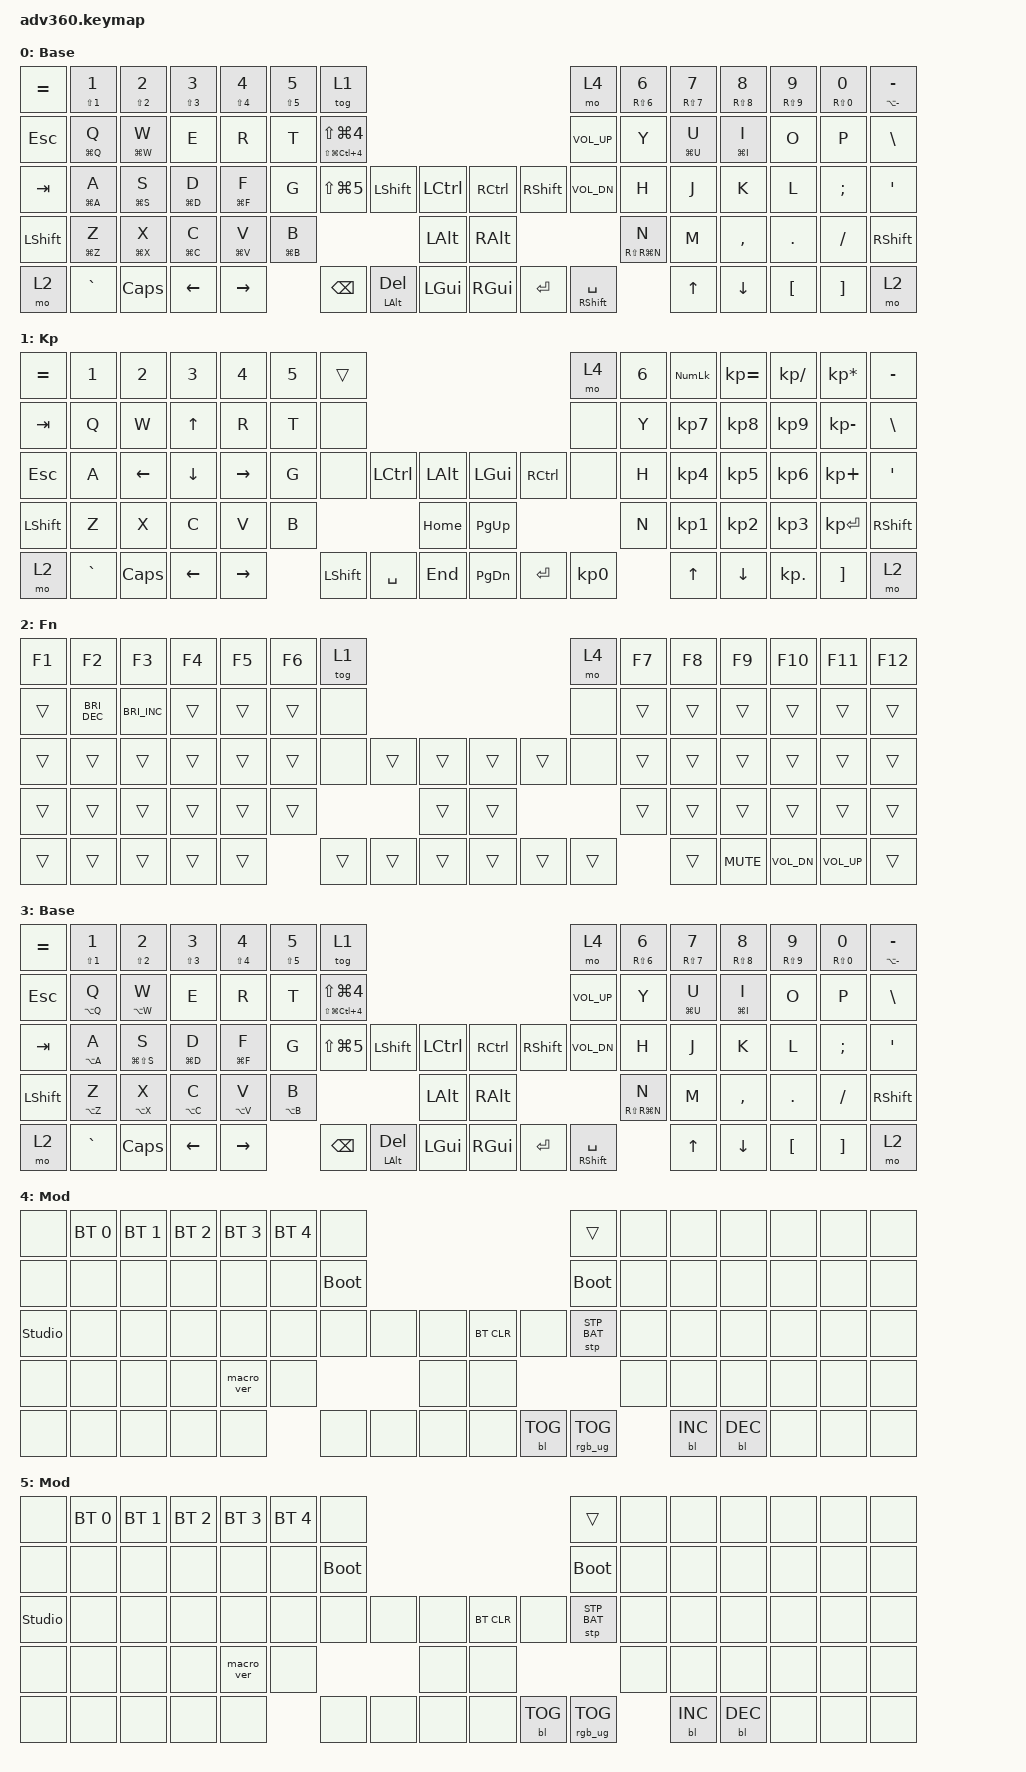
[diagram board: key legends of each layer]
#include <dt-bindings/zmk/stp.h>
#include <behaviors.dtsi>
#include <dt-bindings/zmk/backlight.h>
#include <dt-bindings/zmk/bt.h>
#include <dt-bindings/zmk/keys.h>
#include <dt-bindings/zmk/rgb.h>

/ {
    behaviors {
        #include "macros.dtsi"
      #include "version.dtsi"

        hm: hm {
            compatible = "zmk,behavior-hold-tap";
            label = "HM";
            bindings = <&kp>, <&kp>;

            #binding-cells = <2>;
            tapping-term-ms = <300>;
            quick-tap-ms = <300>;
            require-prior-idle-ms = <300>;
            flavor = "tap-preferred";
        };
    };

    keymap {
        compatible = "zmk,keymap";

        default_layer {
            display-name = "Base";
            bindings = <
&kp EQUAL  &hm LS(N1) N1  &hm LS(N2) N2  &hm LS(N3) N3  &hm LS(N4) N4  &hm LS(N5) N5  &tog 1                                                                               &mo 4                  &hm RS(N6) N6    &hm RS(N7) N7  &hm RS(N8) N8  &hm RS(N9) N9  &hm RS(N0) N0  &hm LA(MINUS) MINUS
&kp ESC    &hm LG(Q) Q    &hm LG(W) W    &kp E          &kp R          &kp T          &hm LS(LG(LC(N4))) LS(LG(N4))                                                        &kp C_VOL_UP           &kp Y            &hm LG(U) U    &hm LG(I) I    &kp O          &kp P          &kp BSLH
&kp TAB    &hm LG(A) A    &hm LG(S) S    &hm LG(D) D    &hm LG(F) F    &kp G          &kp LS(LG(N5))                 &kp LSHFT     &kp LCTRL         &kp RCTRL  &kp RSHFT  &kp C_VOL_DN           &kp H            &kp J          &kp K          &kp L          &kp SEMI       &kp SQT
&kp LSHFT  &hm LG(Z) Z    &hm LG(X) X    &hm LG(C) C    &hm LG(V) V    &hm LG(B) B                                                 &kp LALT          &kp RALT                                     &hm RS(RG(N)) N  &kp M          &kp COMMA      &kp DOT        &kp FSLH       &kp RSHFT
&mo 2      &kp GRAVE      &kp CAPS       &kp LEFT       &kp RIGHT                     &kp BSPC                       &hm LALT DEL  &kp LEFT_GUI      &kp RGUI   &kp ENTER  &hm RIGHT_SHIFT SPACE                   &kp UP         &kp DOWN       &kp LBKT       &kp RBKT       &mo 2
            >;
        };

        keypad {
            display-name = "Kp";
            bindings = <
&kp EQUAL  &kp N1     &kp N2    &kp N3    &kp N4     &kp N5  &trans                                                         &mo 4      &kp N6  &kp KP_NUM  &kp KP_EQUAL  &kp KP_DIVIDE  &kp KP_MULTIPLY  &kp MINUS
&kp TAB    &kp Q      &kp W     &kp UP    &kp R      &kp T   &none                                                          &none      &kp Y   &kp KP_N7   &kp KP_N8     &kp KP_N9      &kp KP_MINUS     &kp BSLH
&kp ESC    &kp A      &kp LEFT  &kp DOWN  &kp RIGHT  &kp G   &none           &kp LCTRL  &kp LALT      &kp LGUI   &kp RCTRL  &none      &kp H   &kp KP_N4   &kp KP_N5     &kp KP_N6      &kp KP_PLUS      &kp SQT
&kp LSHFT  &kp Z      &kp X     &kp C     &kp V      &kp B                              &kp HOME      &kp PG_UP                        &kp N   &kp KP_N1   &kp KP_N2     &kp KP_N3      &kp KP_ENTER     &kp RSHFT
&mo 2      &kp GRAVE  &kp CAPS  &kp LEFT  &kp RIGHT          &kp LEFT_SHIFT  &kp SPACE  &kp END       &kp PG_DN  &kp ENTER  &kp KP_N0          &kp UP      &kp DOWN      &kp KP_DOT     &kp RBKT         &mo 2
            >;
        };

        fn {
            display-name = "Fn";
            bindings = <
&kp F1  &kp F2                &kp F3                &kp F4  &kp F5  &kp F6  &tog 1                                      &mo 4   &kp F7  &kp F8  &kp F9      &kp F10       &kp F11       &kp F12
&trans  &kp C_BRIGHTNESS_DEC  &kp C_BRIGHTNESS_INC  &trans  &trans  &trans  &none                                       &none   &trans  &trans  &trans      &trans        &trans        &trans
&trans  &trans                &trans                &trans  &trans  &trans  &none   &trans  &trans      &trans  &trans  &none   &trans  &trans  &trans      &trans        &trans        &trans
&trans  &trans                &trans                &trans  &trans  &trans                  &trans      &trans                  &trans  &trans  &trans      &trans        &trans        &trans
&trans  &trans                &trans                &trans  &trans          &trans  &trans  &trans      &trans  &trans  &trans          &trans  &kp C_MUTE  &kp C_VOL_DN  &kp C_VOL_UP  &trans
            >;
        };

        layer_9 {
            display-name = "Base";
            bindings = <
&kp EQUAL  &hm LS(N1) N1  &hm LS(N2) N2    &hm LS(N3) N3  &hm LS(N4) N4  &hm LS(N5) N5  &tog 1                                                                               &mo 4                  &hm RS(N6) N6    &hm RS(N7) N7  &hm RS(N8) N8  &hm RS(N9) N9  &hm RS(N0) N0  &hm LA(MINUS) MINUS
&kp ESC    &hm LA(Q) Q    &hm LA(W) W      &kp E          &kp R          &kp T          &hm LS(LG(LC(N4))) LS(LG(N4))                                                        &kp C_VOL_UP           &kp Y            &hm LG(U) U    &hm LG(I) I    &kp O          &kp P          &kp BSLH
&kp TAB    &hm LA(A) A    &hm LG(LS(S)) S  &hm LG(D) D    &hm LG(F) F    &kp G          &kp LS(LG(N5))                 &kp LSHFT     &kp LCTRL         &kp RCTRL  &kp RSHFT  &kp C_VOL_DN           &kp H            &kp J          &kp K          &kp L          &kp SEMI       &kp SQT
&kp LSHFT  &hm LA(Z) Z    &hm LA(X) X      &hm LA(C) C    &hm LA(V) V    &hm LA(B) B                                                 &kp LALT          &kp RALT                                     &hm RS(RG(N)) N  &kp M          &kp COMMA      &kp DOT        &kp FSLH       &kp RSHFT
&mo 2      &kp GRAVE      &kp CAPS         &kp LEFT       &kp RIGHT                     &kp BSPC                       &hm LALT DEL  &kp LEFT_GUI      &kp RGUI   &kp ENTER  &hm RIGHT_SHIFT SPACE                   &kp UP         &kp DOWN       &kp LBKT       &kp RBKT       &mo 2
            >;
        };

        mod {
            display-name = "Mod";
            bindings = <
&none           &bt BT_SEL 0  &bt BT_SEL 1  &bt BT_SEL 2  &bt BT_SEL 3  &bt BT_SEL 4  &none                                                  &trans           &none  &none       &none       &none  &none  &none
&none           &none         &none         &none         &none         &none         &bootloader                                            &bootloader      &none  &none       &none       &none  &none  &none
&studio_unlock  &none         &none         &none         &none         &none         &none        &none  &none      &bt BT_CLR  &none       &stp STP_BAT     &none  &none       &none       &none  &none  &none
&none           &none         &none         &none         &macro_ver    &none                             &none      &none                                    &none  &none       &none       &none  &none  &none
&none           &none         &none         &none         &none                       &none        &none  &none      &none       &bl BL_TOG  &rgb_ug RGB_TOG         &bl BL_INC  &bl BL_DEC  &none  &none  &none
            >;
        };

        extra1 {
            display-name = "Red";
            status = "reserved";
        };

        extra2 {
            display-name = "Purple";
            status = "reserved";
        };

        extra3 {
            display-name = "Cyan";
            status = "reserved";
        };

        extra4 {
            display-name = "Yellow";
            status = "reserved";
        };

        layer_8 {
            display-name = "Mod";
            bindings = <
&none           &bt BT_SEL 0  &bt BT_SEL 1  &bt BT_SEL 2  &bt BT_SEL 3  &bt BT_SEL 4  &none                                                  &trans           &none  &none       &none       &none  &none  &none
&none           &none         &none         &none         &none         &none         &bootloader                                            &bootloader      &none  &none       &none       &none  &none  &none
&studio_unlock  &none         &none         &none         &none         &none         &none        &none  &none      &bt BT_CLR  &none       &stp STP_BAT     &none  &none       &none       &none  &none  &none
&none           &none         &none         &none         &macro_ver    &none                             &none      &none                                    &none  &none       &none       &none  &none  &none
&none           &none         &none         &none         &none                       &none        &none  &none      &none       &bl BL_TOG  &rgb_ug RGB_TOG         &bl BL_INC  &bl BL_DEC  &none  &none  &none
            >;
        };
    };
};
